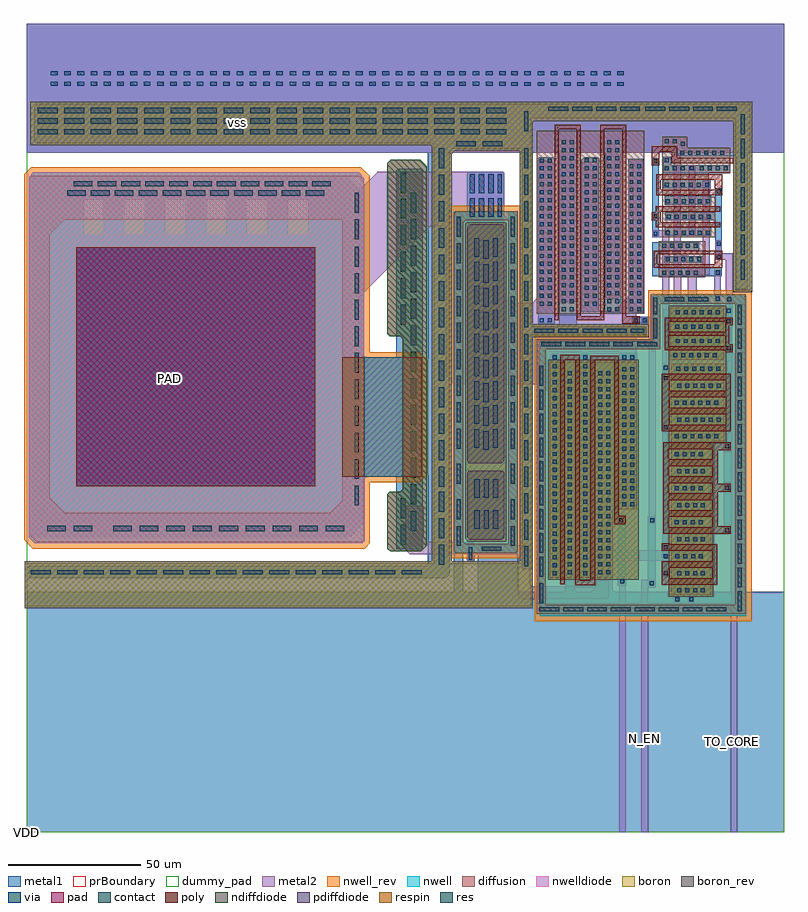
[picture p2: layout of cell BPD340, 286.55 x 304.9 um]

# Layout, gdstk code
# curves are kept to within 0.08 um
import gdstk
lib = gdstk.Library(unit=1e-6, precision=1e-09)
def R(c, l, rs):  # rectangles x0, y0, x1, y1
    for r in rs: c.add(gdstk.rectangle(r[:2], r[2:], *l))
def A(c, l, x, y, w, h, nx, ny, dx, dy):  # array of equal rectangles
    R(c, l, [(x+i*dx, y+j*dy, x+i*dx+w, y+j*dy+h) for i in range(nx) for j in range(ny)])
def P(c, l, *ps):  # polygons
    for p in ps: c.add(gdstk.Polygon(p, *l))
nwell = (1, 0)
diffusion = (2, 0)
nwell_rev = (3, 0)
poly = (4, 0)
boron = (5, 0)
boron_rev = (6, 0)
contact = (7, 0)
metal1 = (8, 0)
via = (9, 0)
metal2 = (10, 0)
pad = (11, 0)
prBoundary = (28, 0)
res = (35, 0)
respin = (36, 0)
pdiffdiode = (37, 0)
nwelldiode = (38, 0)
ndiffdiode = (39, 0)
dummy_pad = (40, 0)

bpd340 = lib.new_cell('BPD340')
P(bpd340, nwell, [(161.5,105.25),(161.15,105.6),(161.15,233.95),(161.45,234.25),(185,234.25),(185.15,234.1),(185.15,105.6),(184.8,105.25)],
  [(3.15,108.95),(1.05,111.05),(1.05,247.25),(2.6,248.8),(125.25,248.8),(127.4,246.65),(127.4,179.652),(128.002,179.05),(147.45,179.05),(149.1,177.4),(149.1,135.7),(147.45,134.05),(128.058,134.05),(127.45,133.442),(127.45,109.75),(126.65,108.95)],
  [(193.6,81.65),(193.6,185.25),(236.35,185.25),(236.35,202.35),(271.45,202.35),(271.45,81.65)])
R(bpd340, diffusion, [(242.8,178.1,262.8,197.8), (190,187.35,233.85,190.85), (192.45,195.45,232.85,264.45), (238.45,209.2,255.95,222.9)])
P(bpd340, diffusion, [(243.1,89.6),(243.1,176.6),(263.1,176.6),(263.1,147.5),(258.1,147.5),(258.1,89.6)],
  [(3.95,109.3),(1.05,112.2),(1.05,246.563),(2.037,247.55),(119,247.55),(119,231),(14.214,231),(8.7,225.486),(8.7,126.204),(14.404,120.5),(114.449,120.5),(119,125.051),(119,247.55),(125.563,247.55),(127.35,245.763),(127.35,109.952),(126.698,109.3)],
  [(137.101,105.95),(136.1,106.951),(136.1,127.549),(136.951,128.4),(140.987,128.4),(141.85,129.263),(141.85,185.999),(140.849,187),(136.906,187),(136,187.906),(136,252.285),(137.365,253.65),(148.4,253.65),(150.9,251.15),(150.9,108.002),(148.848,105.95)],
  [(162.101,105.25),(161.15,106.201),(161.15,233.344),(162.056,234.25),(181.65,234.25),(181.65,230.75),(165.536,230.75),(164.65,229.864),(164.65,109.515),(165.415,108.75),(181.395,108.75),(181.65,109.005),(181.65,234.25),(184.95,234.25),(185.15,234.05),(185.15,106.052),(184.348,105.25)],
  [(0,85.15),(0,101.45),(153.45,101.45),(153.45,259.248),(152.848,259.85),(3.814,259.85),(2.85,260.814),(2.85,273.45),(4.05,274.65),(186.75,274.65),(186.75,257.65),(160.704,257.65),(159.55,256.496),(159.552,101.45),(186.295,101.45),(186.75,101.905),(186.75,274.65),(188.9,274.65),(190.25,273.3),(190.25,85.15)],
  [(192.35,82.35),(192.35,182.2),(192.3,182.2),(192.3,185.85),(235.35,185.85),(235.35,202.8),(267.15,202.8),(267.15,199.3),(238.85,199.3),(238.85,182.2),(195.85,182.2),(195.85,85.85),(267.15,85.85),(267.15,202.8),(271.25,202.8),(271.25,82.35)],
  [(197.35,95.9),(197.35,177.4),(230.05,177.4),(230.05,121.9),(221.05,121.9),(221.05,95.9)],
  [(166.752,139.25),(166.15,139.852),(166.15,228.35),(167.05,229.25),(179.448,229.25),(180.15,228.548),(180.15,140.156),(179.244,139.25)],
  [(267.15,204.3),(267.15,269.25),(187.4,269.25),(187.4,274.65),(272.85,274.65),(272.85,204.3)],
  [(167.105,110.25),(166.15,111.205),(166.15,135.6),(166.8,136.25),(179.65,136.25),(180.15,135.75),(180.15,111.15),(179.25,110.25)],
  [(239.65,224.4),(239.65,262.35),(249.15,262.35),(249.15,258.05),(265.3,258.05),(265.3,248.6),(257.15,248.6),(257.15,239.7),(259.65,239.7),(259.65,224.4)])
P(bpd340, nwell_rev, [(160.672,103.25),(159.15,104.772),(159.15,234.778),(160.622,236.25),(185.828,236.25),(187.15,234.928),(187.15,104.772),(185.628,103.25)],
  [(2.322,106.95),(-0.95,110.222),(-0.95,248.078),(1.772,250.8),(126.078,250.8),(129.4,247.478),(129.4,181.05),(148.278,181.05),(151.1,178.228),(151.1,134.872),(148.278,132.05),(129.45,132.05),(129.45,108.922),(127.478,106.95)],
  [(191.6,79.65),(191.6,187.25),(234.35,187.25),(234.35,204.35),(273.45,204.35),(273.45,79.65)])
P(bpd340, poly, [(206.85,93.15),(206.85,178.1),(202.95,178.1),(202.95,93.5),(201.15,93.5),(201.15,180),(208.65,180),(208.65,95),(212.55,95),(212.55,179.6),(223.35,179.6),(223.35,119.35),(225.95,119.35),(225.95,116.25),(221.55,116.25),(221.55,178),(214.35,178),(214.35,93.15)],
  [(240,112.5),(240,147),(258.6,147),(258.6,144.5),(242.05,144.5),(242.05,140.6),(258.6,140.6),(258.6,138.1),(242.05,138.1),(242.05,134.2),(258.6,134.2),(258.6,131.7),(242.05,131.7),(242.05,127.8),(258.6,127.8),(258.6,125.3),(242.05,125.3),(242.05,121.4),(258.6,121.4),(258.6,118.9),(242.05,118.9),(242.05,115),(258.6,115),(258.6,147),(265.6,147),(265.6,144.1),(260.6,144.1),(260.6,131.35),(265.6,131.35),(265.6,128.45),(260.6,128.45),(260.6,115.4),(265.6,115.4),(265.6,112.5)],
  [(239.6,93.3),(239.6,102.2),(258.6,102.2),(258.6,99.7),(242.6,99.7),(242.6,95.8),(258.6,95.8),(258.6,106.1),(239.6,106.1),(239.6,109),(242.55,109),(242.55,108.6),(260.5,108.6),(260.5,93.3)],
  [(239.6,151.2),(239.6,172.9),(263.6,172.9),(263.6,170.4),(242.55,170.4),(242.55,166.5),(263.6,166.5),(263.6,164),(242.6,164),(242.6,160.1),(263.6,160.1),(263.6,157.6),(242.6,157.6),(242.6,153.7),(263.6,153.7),(263.6,172.9),(265.6,172.9),(265.6,151.2)],
  [(263.4,181.1),(263.4,181.8),(240.55,181.8),(240.55,194.1),(263.4,194.1),(263.4,192.6),(242.1,192.6),(242.1,188.7),(263.4,188.7),(263.4,187.2),(242.1,187.2),(242.1,183.3),(263.4,183.3),(263.4,194.1),(266.3,194.1),(266.3,191.2),(264.9,191.2),(264.9,184),(266.3,184),(266.3,181.1)],
  [(237.3,228.1),(237.3,230.85),(235.7,230.85),(235.7,233.75),(237.3,233.75),(237.3,236),(261.55,236),(261.55,234),(239.15,234),(239.15,230.1),(261.55,230.1),(261.55,228.1)],
  [(235.7,251.55),(235.7,258.65),(245.35,258.65),(245.35,254.3),(266.5,254.3),(266.5,252.3),(243.35,252.3),(243.35,256.65),(238.6,256.65),(238.6,251.55)],
  [(237.45,240.2),(237.45,248.1),(259.5,248.1),(259.5,246.1),(239.15,246.1),(239.15,242.2),(259.5,242.2),(259.5,248.1),(262.4,248.1),(262.4,240.2)],
  [(236.4,212.9),(236.4,219.2),(259.5,219.2),(259.5,218),(237.75,218),(237.75,214.1),(259.5,214.1),(259.5,219.2),(262.4,219.2),(262.4,212.9)],
  [(224.65,191.7),(224.65,265.15),(217.75,265.15),(217.75,193.05),(207.55,193.05),(207.55,265.15),(200.65,265.15),(200.65,193.05),(199.15,193.05),(199.15,266.75),(209.05,266.75),(209.05,194.65),(216.25,194.65),(216.25,266.75),(226.15,266.75),(226.15,194.6),(231.15,194.6),(231.15,191.7)])
R(bpd340, boron, [(196.65,95.2,230.8,178.15), (190.95,186.65,234.6,191.55)])
P(bpd340, boron, [(242.1,88.85),(242.1,198.5),(263.8,198.5),(263.8,146.75),(258.85,146.75),(258.85,88.85)],
  [(166.6,109.55),(165.45,110.7),(165.45,229.5),(165.9,229.95),(180.85,229.95),(180.85,109.55)],
  [(-0.7,84.45),(-0.7,102.15),(152.75,102.15),(152.75,258.6),(152.2,259.15),(1.4,259.15),(1.4,275.45),(186.05,275.45),(186.05,256.95),(161.451,256.95),(160.25,255.749),(160.25,102.15),(185.7,102.15),(186.05,102.5),(186.05,275.45),(190.95,275.45),(190.95,84.45)],
  [(266.4,203.6),(266.4,268.15),(190.95,268.15),(190.95,275.45),(273.6,275.45),(273.6,203.6)])
R(bpd340, boron_rev, [(196.65,95.2,230.8,178.15), (190.95,186.65,234.6,191.55)])
P(bpd340, boron_rev, [(242.1,88.85),(242.1,198.5),(263.8,198.5),(263.8,146.75),(258.85,146.75),(258.85,88.85)],
  [(166.6,109.55),(165.45,110.7),(165.45,229.5),(165.9,229.95),(180.85,229.95),(180.85,109.55)],
  [(-0.7,84.45),(-0.7,102.15),(152.75,102.15),(152.75,258.6),(152.2,259.15),(1.4,259.15),(1.4,275.45),(186.05,275.45),(186.05,256.95),(161.451,256.95),(160.25,255.749),(160.25,102.15),(185.7,102.15),(186.05,102.5),(186.05,275.45),(190.95,275.45),(190.95,84.45)],
  [(266.4,203.6),(266.4,268.15),(190.95,268.15),(190.95,275.45),(273.6,275.45),(273.6,203.6)])
A(bpd340, contact, 193.35, 83.35, 7.5, 1.5, 8, 1, 9, 0)
A(bpd340, contact, 268.15, 83.35, 1.5, 7.5, 1, 5, 0, 9)
A(bpd340, contact, 245.3, 90.6, 1.5, 1.5, 4, 2, 3, 6.4)
A(bpd340, contact, 193.35, 96.35, 1.5, 7.5, 1, 9, 0, 9)
A(bpd340, contact, 1.55, 97.3, 7.5, 1.5, 15, 1, 10, 0)
A(bpd340, contact, 204.15, 97.4, 1.5, 1.5, 1, 26, 0, 3)
A(bpd340, contact, 215.55, 97.4, 1.5, 1.5, 1, 26, 0, 3)
A(bpd340, contact, 218.55, 97.4, 1.5, 1.5, 1, 26, 0, 3)
A(bpd340, contact, 187.75, 100.35, 1.5, 7.5, 1, 16, 0, 10)
A(bpd340, contact, 155.45, 100.85, 2, 7.5, 1, 3, 0, 10)
A(bpd340, contact, 247.55, 103.4, 1.5, 1.5, 3, 1, 3, 0)
A(bpd340, contact, 198.35, 105.9, 1.5, 1.5, 1, 3, 0, 6)
A(bpd340, contact, 209.85, 108.9, 1.5, 1.5, 1, 3, 0, 6)
A(bpd340, contact, 245.3, 109.8, 1.5, 1.5, 4, 3, 3, 12.8)
A(bpd340, contact, 32.75, 113.55, 7, 2, 9, 1, 10, 0)
A(bpd340, contact, 168.85, 114.4, 2, 7, 3, 2, 3.5, 11.75)
A(bpd340, contact, 247.5, 116.2, 1.5, 1.5, 3, 3, 3, 12.8)
A(bpd340, contact, 224.55, 122.9, 1.5, 1.5, 1, 18, 0, 3)
A(bpd340, contact, 123.85, 123.25, 1.5, 7.5, 1, 10, 0, 10)
A(bpd340, contact, 144.85, 123.65, 2, 7.5, 1, 12, 0, 10)
A(bpd340, contact, 155.45, 130.35, 2, 7.5, 1, 13, 0, 10)
A(bpd340, contact, 227.55, 131.9, 1.5, 1.5, 1, 3, 0, 6)
A(bpd340, contact, 268.15, 137.35, 1.5, 7.5, 1, 7, 0, 9)
A(bpd340, contact, 172.25, 144.25, 2, 7, 1, 9, 0, 9)
A(bpd340, contact, 162.15, 144.65, 1.5, 7.5, 1, 9, 0, 10)
A(bpd340, contact, 182.65, 144.65, 1.5, 7.5, 1, 9, 0, 10)
A(bpd340, contact, 168.75, 145.05, 2, 7, 1, 9, 0, 9)
A(bpd340, contact, 175.75, 145.05, 2, 7, 1, 9, 0, 9)
A(bpd340, contact, 244.35, 148.5, 1.5, 1.5, 4, 2, 3, 12.8)
A(bpd340, contact, 245.3, 154.9, 1.5, 1.5, 6, 2, 3, 12.8)
A(bpd340, contact, 245, 174.1, 1.5, 1.5, 4, 1, 3, 0)
A(bpd340, contact, 252.8, 179.1, 1.5, 1.5, 3, 1, 3, 0)
A(bpd340, contact, 194.15, 183.35, 7.5, 1.5, 4, 1, 9, 0)
A(bpd340, contact, 244.8, 184.5, 1.5, 1.5, 6, 2, 3, 10.8)
A(bpd340, contact, 253.55, 189.9, 1.5, 1.5, 3, 1, 3, 0)
A(bpd340, contact, 141.05, 191.45, 2, 7.5, 1, 5, 0, 10)
A(bpd340, contact, 201.85, 196.45, 1.5, 1.5, 1, 5, 0, 3)
A(bpd340, contact, 204.85, 196.45, 1.5, 1.5, 1, 3, 0, 3)
A(bpd340, contact, 218.95, 196.45, 1.5, 1.5, 1, 3, 0, 3)
A(bpd340, contact, 221.95, 196.45, 1.5, 1.5, 1, 4, 0, 3)
A(bpd340, contact, 227.35, 196.45, 1.5, 1.5, 1, 19, 0, 3)
A(bpd340, contact, 193.45, 198.55, 1.5, 1.5, 1, 7, 0, 9)
A(bpd340, contact, 196.45, 198.55, 1.5, 1.5, 1, 19, 0, 3)
A(bpd340, contact, 213.55, 201.6, 1.5, 1.5, 1, 4, 0, 3)
A(bpd340, contact, 210.55, 207.6, 1.5, 1.5, 1, 5, 0, 3)
A(bpd340, contact, 204.85, 208.45, 1.5, 1.5, 1, 3, 0, 3)
A(bpd340, contact, 218.95, 208.45, 1.5, 1.5, 1, 3, 0, 3)
A(bpd340, contact, 239.65, 210.2, 1.5, 1.5, 5, 2, 3, 10.2)
A(bpd340, contact, 221.95, 211.45, 1.5, 1.5, 1, 6, 0, 3)
A(bpd340, contact, 201.85, 214.45, 1.5, 1.5, 1, 3, 0, 3)
A(bpd340, contact, 213.55, 216.6, 1.5, 1.5, 1, 5, 0, 3)
A(bpd340, contact, 269.25, 217.8, 1.5, 7.5, 1, 3, 0, 9)
A(bpd340, contact, 204.85, 220.45, 1.5, 1.5, 1, 3, 0, 3)
A(bpd340, contact, 241.1, 225.4, 1.5, 1.5, 3, 2, 3, 11.8)
A(bpd340, contact, 210.55, 225.6, 1.5, 1.5, 1, 5, 0, 3)
A(bpd340, contact, 201.85, 226.45, 1.5, 1.5, 1, 3, 0, 3)
A(bpd340, contact, 218.95, 226.45, 1.5, 1.5, 1, 5, 0, 3)
A(bpd340, contact, 230.35, 226.45, 1.5, 1.5, 1, 3, 0, 9)
A(bpd340, contact, 241.4, 231.3, 1.5, 1.5, 6, 1, 3, 0)
A(bpd340, contact, 204.85, 232.45, 1.5, 1.5, 1, 3, 0, 3)
A(bpd340, contact, 213.55, 234.6, 1.5, 1.5, 1, 5, 0, 3)
A(bpd340, contact, 201.85, 238.45, 1.5, 1.5, 1, 3, 0, 3)
A(bpd340, contact, 221.95, 238.45, 1.5, 1.5, 1, 3, 0, 3)
A(bpd340, contact, 15.3, 240.05, 7, 2, 11, 1, 9, 0)
A(bpd340, contact, 240.65, 243.4, 1.5, 1.5, 5, 1, 3, 0)
A(bpd340, contact, 17.8, 243.55, 7, 2, 10, 1, 9, 0)
A(bpd340, contact, 210.55, 243.6, 1.5, 1.5, 1, 4, 0, 3)
A(bpd340, contact, 204.85, 244.45, 1.5, 1.5, 1, 3, 0, 3)
A(bpd340, contact, 218.95, 244.45, 1.5, 1.5, 1, 3, 0, 3)
A(bpd340, contact, 240.65, 249.6, 1.5, 1.5, 3, 1, 3, 0)
A(bpd340, contact, 253.8, 249.6, 1.5, 1.5, 4, 1, 3, 0)
A(bpd340, contact, 201.85, 250.45, 1.5, 1.5, 1, 4, 0, 3)
A(bpd340, contact, 221.95, 250.45, 1.5, 1.5, 1, 3, 0, 3)
A(bpd340, contact, 246.55, 255.55, 1.5, 1.5, 6, 1, 3, 0)
A(bpd340, contact, 4.3, 263.15, 7.5, 2, 14, 3, 10, 4)
A(bpd340, contact, 143.8, 263.15, 7.5, 2, 1, 3, 0, 4)
A(bpd340, contact, 173.3, 263.15, 7.5, 2, 1, 3, 0, 4)
A(bpd340, contact, 196.8, 272.15, 7.5, 1.5, 4, 1, 9, 0)
A(bpd340, contact, 233.3, 272.15, 7.5, 1.5, 4, 1, 9, 0)
R(bpd340, contact, [(193.35,86.35,194.85,93.85), (198.35,96.9,199.85,98.4), (209.85,96.9,211.35,98.4), (240.3,96.9,241.8,98.4), (209.85,99.9,211.35,101.4), (198.35,102.9,199.85,104.4), (209.85,105.9,211.35,107.4), (171.55,106.25,179.05,107.75), (240.3,106.8,241.8,108.3), (162.15,108,163.65,115.5), (182.65,108,184.15,115.5), (141.05,108.4,143.05,115.9), (263.4,113.2,264.9,114.7), (7.85,113.55,14.85,115.55), (17.85,113.55,24.85,115.55), (223.4,116.95,224.9,118.45), (162.15,118,163.65,125.5), (182.65,118,184.15,125.5), (141.05,118.45,143.05,125.95), (198.35,120.9,199.85,122.4), (209.85,123.9,211.35,125.4), (198.35,126.9,199.85,128.4), (268.15,128.4,269.65,135.85), (263.4,129.15,264.9,130.65), (198.35,129.9,199.85,131.4), (209.85,129.9,211.35,131.4), (162.15,131.4,163.65,138.9), (182.65,131.4,184.15,138.9), (209.85,132.9,211.35,134.4), (198.35,135.9,199.85,137.4), (198.35,138.9,199.85,140.4), (209.85,138.9,211.35,140.4), (209.85,141.9,211.35,143.4), (263.4,144.8,264.9,146.3), (198.35,144.9,199.85,146.4), (198.35,147.9,199.85,149.4), (209.85,147.9,211.35,149.4), (259.35,148.5,260.85,150), (209.85,150.9,211.35,152.4), (240.3,151.9,241.8,153.4), (227.55,152.9,229.05,154.4), (198.35,153.9,199.85,155.4), (198.35,156.9,199.85,158.4), (209.85,156.9,211.35,158.4), (227.55,158.9,229.05,160.4), (209.85,159.9,211.35,161.4), (259.35,161.3,260.85,162.8), (198.35,162.9,199.85,164.4), (198.35,165.9,199.85,167.4), (209.85,165.9,211.35,167.4), (209.85,168.9,211.35,170.4), (240.3,170.55,241.8,172.05), (227.55,170.9,229.05,172.4), (198.35,171.9,199.85,173.4), (260,174.1,261.5,175.6), (198.35,174.9,199.85,176.4), (209.85,174.9,211.35,176.4), (243.8,179.1,245.3,180.6), (246.8,179.1,248.3,180.6), (264.1,181.8,265.6,183.3), (230.25,183.35,237.75,184.85), (236.35,186.35,237.85,193.85), (191.5,188.35,199,189.85), (200.5,188.35,208,189.85), (209.8,188.35,217.3,189.85), (218.8,188.35,226.3,189.85), (227.8,188.35,232.85,189.85), (244.55,189.9,246.05,191.4), (247.55,189.9,249.05,191.4), (264.1,191.9,265.6,193.4), (228.95,192.4,230.45,193.9), (236.35,195.35,237.85,201.65), (230.35,196.45,231.85,197.95), (210.55,198.6,212.05,200.1), (240.55,200.3,248.05,201.8), (249.55,200.3,257.05,201.8), (264.25,200.3,265.75,201.8), (210.55,201.6,212.05,203.1), (230.35,205.45,231.85,206.95), (269.25,208.3,270.75,215.8), (230.35,211.45,231.85,212.95), (240.95,215.3,242.45,216.8), (243.95,215.3,245.45,216.8), (249.95,215.3,251.45,216.8), (252.95,215.3,254.45,216.8), (260.2,216.3,261.7,217.8), (218.95,220.45,220.45,221.95), (230.35,220.45,231.85,221.95), (123.85,223.6,125.35,231.1), (253.1,225.4,254.6,226.9), (256.1,225.4,257.6,226.9), (236.4,231.55,237.9,233.05), (221.95,232.45,223.45,233.95), (123.85,233.6,125.35,241.1), (253.1,237.2,254.6,238.7), (256.1,237.2,257.6,238.7), (260.2,240.9,261.7,242.4), (141.05,241.15,143.05,248.65), (107.8,243.55,114.7,245.55), (269.25,244.85,270.75,252.35), (236.4,252.25,237.9,253.75), (213.55,252.6,215.05,254.1), (240.65,252.65,242.15,254.15), (269.25,254.1,270.75,261.6), (204.85,256.45,206.35,257.95), (218.95,256.45,220.45,257.95), (161.95,258.65,169.45,260.65), (171.95,258.65,179.45,260.65), (246.65,258.85,248.15,260.35), (204.85,259.45,206.35,260.95), (218.95,259.45,220.45,260.95), (240.65,259.85,242.15,261.35), (243.65,259.85,245.15,261.35), (153.65,263.15,161.3,265.15), (163.8,263.15,170.8,265.15), (269.25,263.15,270.75,270.7), (187.75,264.35,189.25,271.85), (153.65,267.15,161.3,269.15), (163.8,267.15,170.8,269.15), (153.8,271.15,161.3,273.15), (163.3,271.15,170.8,273.15)])
R(bpd340, metal1, [(0,0,285.6,90.7), (242.8,90.1,258.4,93.45), (234.3,92.3,237.25,119.15), (222.9,92.8,226.1,118.95), (239.65,96.4,242.3,176.45), (244.05,102.9,255.55,105.8), (244,115.25,255.5,118.2), (223.45,121.8,230.3,180.8), (244,127.95,255.5,131), (244,140.65,255.5,143.8), (243.85,160.3,261.4,163.3), (244.5,172.95,262,176.1), (243.3,178.15,260.8,181.1), (244.05,189,261.55,191.9), (228.4,191.9,234.35,194.4), (226.85,195.95,232.55,254), (240.45,214.8,255.1,217.3), (235.9,224.4,238.4,254.25), (240.6,224.9,258.1,228.05), (240.6,236.7,258.1,240.05), (240.15,242.9,258.05,246.15), (0,256.2,285.6,304.9)])
P(bpd340, metal1, [(0.75,95.85),(0.75,100.5),(151.35,100.5),(151.35,256.2),(0,256.2),(0,304.9),(231,304.9),(231,256.2),(190.95,256.2),(190.95,99.3),(190.85,99.2),(186.85,99.2),(186.75,99.3),(186.75,255.344),(185.894,256.2),(160.252,256.2),(159.55,255.498),(159.55,97.066),(158.334,95.85)],
  [(188.2,187.75),(188.2,190.35),(200.9,190.35),(200.9,256.2),(0,256.2),(0,304.9),(285.6,304.9),(285.6,256.2),(271.9,256.2),(271.9,204.7),(267.65,204.7),(267.65,255),(245.65,255),(245.65,256.2),(224.2,256.2),(224.2,195.95),(218.4,195.95),(217.95,196.4),(217.95,256.2),(207.45,256.2),(207.45,190.35),(233.55,190.35),(233.55,187.75)],
  [(197.95,96.4),(197.35,97),(197.35,179.848),(198.152,180.65),(200.398,180.65),(201.05,179.998),(201.05,97.302),(200.148,96.4)],
  [(0,0),(0,90.7),(160.689,90.7),(161.15,91.161),(161.15,233.85),(161.55,234.25),(164.197,234.25),(164.65,233.797),(164.65,91.05),(165,90.7),(169.7,90.7),(170.15,91.15),(170.15,108.248),(170.652,108.75),(181.395,108.75),(181.65,109.005),(181.65,233.847),(182.053,234.25),(184.8,234.25),(185.15,233.9),(185.15,91.202),(185.652,90.7),(231,90.7),(231,0)],
  [(2.45,110.8),(1.75,111.5),(1.75,245.949),(3.351,247.55),(29.2,247.55),(29.2,238.55),(21.5,238.55),(21.5,225.55),(29.2,225.55),(29.2,247.55),(44.6,247.55),(44.6,238.55),(36.9,238.55),(36.9,225.55),(44.6,225.55),(44.6,247.55),(60,247.55),(60,238.55),(52.3,238.55),(52.3,225.55),(60,225.55),(60,247.55),(75.4,247.55),(75.4,238.55),(67.7,238.55),(67.7,225.55),(75.4,225.55),(75.4,247.55),(90.8,247.55),(90.8,238.55),(83.1,238.55),(83.1,225.55),(90.8,225.55),(90.8,247.55),(106.2,247.55),(106.2,238.55),(98.5,238.55),(98.5,225.55),(106.2,225.55),(106.2,247.55),(121.25,247.55),(127.4,241.4),(127.4,214),(127.3,214),(127.35,116.437),(121.713,110.8)],
  [(139.35,106.65),(139.35,249.685),(139.915,250.25),(148.548,250.25),(149.35,249.448),(149.35,106.65)],
  [(262.9,112.7),(262.9,153.7),(244.6,153.7),(244.6,156.9),(262.95,156.9),(262.95,166.5),(244.6,166.5),(244.6,169.7),(263.6,169.7),(263.6,197.95),(266.1,197.95),(266.1,112.7)],
  [(244.8,96.5),(244.8,99.6),(257.05,99.6),(257.05,109.3),(244.8,109.3),(244.8,112.75),(257.05,112.75),(257.05,121.65),(244.8,121.65),(244.8,124.6),(257.05,124.6),(257.05,134.2),(244.8,134.2),(244.8,137.4),(257.05,137.4),(257.05,147.35),(243.85,147.35),(243.85,150.5),(261.35,150.5),(261.35,147.55),(259.55,147.55),(259.55,96.5)],
  [(208.95,96.4),(208.95,180.149),(209.651,180.85),(211.35,180.85),(212.55,179.65),(212.55,96.95),(212,96.4)],
  [(0,0),(0,90.7),(192.85,90.7),(192.85,185.4),(235.85,185.4),(235.85,202.3),(257.55,202.3),(257.55,199.8),(238.35,199.8),(238.35,182.75),(195.35,182.75),(195.35,91.701),(196.351,90.7),(202.7,90.7),(203.1,91.1),(203.1,174.644),(203.906,175.45),(205.596,175.45),(206.65,174.396),(206.65,91.555),(207.505,90.7),(212.992,90.7),(214.3,92.008),(214.3,175.849),(215.451,177),(219.55,177),(220.95,175.6),(220.95,91.701),(221.951,90.7),(267.65,90.7),(267.65,199.8),(263.75,199.8),(263.75,202.3),(270.75,202.3),(270.75,90.7),(285.6,90.7),(285.6,0)],
  [(166.75,139.25),(166.15,139.85),(166.15,248.498),(166.802,249.15),(179.747,249.15),(180.115,248.782),(180.15,248.697),(180.15,140.156),(179.244,139.25)],
  [(166.15,102.35),(166.15,135.394),(166.157,135.412),(166.237,135.531),(166.956,136.25),(179.348,136.25),(180.15,135.448),(180.15,111.27),(179.13,110.25),(169.601,110.25),(168.65,109.299),(168.65,102.35)],
  [(239.9,183.3),(239.9,197.3),(259.3,197.3),(259.3,202.5),(261.8,202.5),(261.8,194.35),(242.5,194.35),(242.5,186.5),(261.8,186.5),(261.8,183.3)],
  [(192.95,191.85),(192.85,191.95),(192.85,254.2),(193.25,254.6),(198.398,254.6),(199.1,253.898),(199.1,191.85)],
  [(209.15,196.25),(209.15,253.55),(210.2,254.6),(215.3,254.6),(215.85,254.05),(215.85,196.25)],
  [(240.15,248.55),(240.15,254.65),(243.05,254.65),(243.05,251.6),(265.3,251.6),(265.3,248.55)],
  [(259.6,215.8),(259.6,230.8),(240.9,230.8),(240.9,233.75),(259.6,233.75),(259.6,242.9),(262.2,242.9),(262.2,215.8)],
  [(235.9,209.7),(235.9,222.4),(253.65,222.4),(253.65,219.35),(238.9,219.35),(238.9,212.85),(262.1,212.85),(262.1,209.7)])
A(bpd340, via, 198.35, 114.9, 1.5, 1.5, 1, 7, 0, 9)
A(bpd340, via, 244.5, 116.2, 1.5, 1.5, 1, 3, 0, 12.8)
A(bpd340, via, 209.85, 117.9, 1.5, 1.5, 1, 7, 0, 9)
A(bpd340, via, 227.55, 122.9, 1.5, 1.5, 1, 3, 0, 3)
A(bpd340, via, 227.55, 134.9, 1.5, 1.5, 1, 3, 0, 6)
A(bpd340, via, 227.55, 149.9, 1.5, 1.5, 1, 3, 0, 6)
A(bpd340, via, 230.35, 202.45, 1.5, 1.5, 1, 3, 0, 6)
A(bpd340, via, 210.55, 204.6, 1.5, 1.5, 1, 3, 0, 18)
A(bpd340, via, 204.85, 205.45, 1.5, 1.5, 1, 5, 0, 12)
A(bpd340, via, 201.85, 211.45, 1.5, 1.5, 1, 4, 0, 12)
A(bpd340, via, 213.55, 213.6, 1.5, 1.5, 1, 3, 0, 18)
A(bpd340, via, 230.35, 217.45, 1.5, 1.5, 1, 3, 0, 6)
A(bpd340, via, 221.95, 235.45, 1.5, 1.5, 1, 3, 0, 12)
A(bpd340, via, 182.7, 281.4, 2.5, 1.5, 9, 2, 5, 4)
A(bpd340, via, 9.2, 281.45, 2.5, 1.5, 27, 2, 5, 4)
A(bpd340, via, 143.7, 281.45, 2.5, 1.5, 4, 2, 5, 4)
A(bpd340, via, 163.2, 281.45, 2.5, 1.5, 4, 2, 5, 4)
R(bpd340, via, [(244.55,87.15,246.05,88.65), (249.8,87.15,251.3,88.65), (234.9,93.1,236.4,94.6), (223.8,93.85,225.3,95.35), (198.35,99.9,199.85,101.4), (166.65,102.85,168.15,107.5), (209.85,102.9,211.35,104.4), (240.3,103.4,241.8,104.9), (244.55,103.4,246.05,104.9), (198.35,108.9,199.85,110.4), (209.85,111.9,211.35,113.4), (144.85,113.65,146.85,121.15), (235.2,116.95,236.7,118.45), (18.8,130.55,108.8,220.55), (256.35,148.5,257.85,150), (256.35,161.3,257.85,162.8), (227.55,164.9,229.05,166.4), (227.55,167.9,229.05,169.4), (227.55,173.9,229.05,175.4), (257,174.1,258.5,175.6), (240.25,174.45,241.75,175.95), (224.55,178.3,226.05,179.8), (227.55,178.3,229.05,179.8), (198.35,178.4,199.85,179.9), (209.85,178.4,211.35,179.9), (249.8,179.1,251.3,180.6), (250.55,189.9,252.05,191.4), (193.45,192.35,194.95,193.85), (196.45,192.35,197.95,193.85), (232.35,192.4,233.85,193.9), (264.1,195.85,265.6,197.35), (213.55,198.6,215.05,200.1), (230.35,199.45,231.85,200.95), (259.8,200.5,261.3,202), (193.45,201.55,194.95,203.05), (193.45,204.55,194.95,206.05), (218.95,205.45,220.45,206.95), (221.95,208.45,223.45,209.95), (259.8,210.2,261.3,211.7), (193.45,210.55,194.95,212.05), (193.45,213.55,194.95,215.05), (246.95,215.3,248.45,216.8), (218.95,217.45,220.45,218.95), (193.45,219.55,194.95,221.05), (260.2,221.2,261.7,222.7), (193.45,222.55,194.95,224.05), (218.95,223.45,220.45,224.95), (236.4,224.9,237.9,226.4), (250.1,225.4,251.6,226.9), (193.45,228.55,194.95,230.05), (221.95,229.45,223.45,230.95), (193.45,231.55,194.95,233.05), (167.05,232.05,169.05,239.05), (170.6,232.05,172.6,239.05), (174.1,232.05,176.1,239.05), (177.6,232.05,179.1,239.05), (230.35,232.45,231.85,233.95), (250.1,237.2,251.6,238.7), (193.45,237.55,194.95,239.05), (230.35,238.45,231.85,239.95), (193.45,240.55,194.95,242.05), (167.05,241.05,169.05,248.05), (170.6,241.05,172.6,248.05), (174.1,241.05,176.1,248.05), (177.6,241.05,179.1,248.05), (218.95,241.45,220.45,242.95), (230.35,241.45,231.85,242.95), (255.9,243.4,257.4,244.9), (193.45,246.55,194.95,248.05), (230.35,247.45,231.85,248.95), (193.45,249.55,194.95,251.05), (250.1,249.6,251.6,251.1), (230.35,250.45,231.85,251.95), (218.95,253.45,220.45,254.95)])
R(bpd340, metal2, [(244.05,86.65,246.55,105.4), (255.85,148,259.15,176.1), (249.6,224.9,252.1,251.6), (0,256.2,285.6,304.9)])
P(bpd340, metal2, [(263.6,195.35),(263.6,215.8),(259.7,215.8),(259.7,223.2),(262.2,223.2),(262.2,218.3),(266.3,218.3),(266.3,195.35)],
  [(223.45,0),(223.45,92.8),(222.9,92.8),(222.9,96.2),(225.95,96.2),(225.95,0)],
  [(14.751,125.55),(13.8,126.501),(13.8,224.7),(14.65,225.55),(108.749,225.55),(132.15,248.951),(132.15,249.15),(179.547,249.15),(180.2,248.497),(180.2,229.8),(179,228.6),(152.298,228.6),(113.8,190.118),(113.8,126.352),(112.998,125.55)],
  [(265.45,0),(265.45,177.9),(259.3,177.9),(259.3,212.2),(261.8,212.2),(261.8,180.6),(267.95,180.6),(267.95,0)],
  [(231.85,0),(231.85,95.15),(237.25,95.15),(237.25,92.3),(234.35,92.3),(234.35,0)],
  [(244,115.25),(244,256.2),(224.2,256.2),(224.2,202.57),(222.78,201.15),(219.054,201.15),(218.4,201.804),(218.4,256.2),(207.45,256.2),(207.45,200.361),(207.189,200.1),(201.85,200.1),(200.9,201.05),(200.9,256.2),(0,256.2),(0,304.9),(285.6,304.9),(285.6,256.2),(246.7,256.2),(246.7,217.5),(248.95,217.5),(248.95,214.8),(246.9,214.8),(246.9,115.25)],
  [(196.6,95.85),(196.6,166.171),(193.821,168.95),(161.401,168.95),(158.05,172.301),(158.05,227.85),(157.3,228.6),(156.95,228.6),(156.95,232.65),(180.2,232.65),(180.2,202.102),(182.602,199.7),(190.788,199.7),(192.4,201.312),(192.4,252.898),(192.802,253.3),(197.3,253.3),(199.1,251.5),(199.1,196.101),(200.001,195.2),(207.742,195.2),(209.15,196.608),(209.15,251.949),(210.101,252.9),(214.998,252.9),(215.75,252.148),(215.75,196.95),(216.2,196.5),(221.35,196.5),(226.85,202.011),(226.85,252.597),(227.853,253.6),(231.6,253.6),(232.95,252.25),(232.95,198.739),(229.95,195.739),(229.95,122.592),(229.158,121.8),(224.907,121.8),(223.35,123.357),(223.35,169.249),(221.699,170.9),(214.151,170.9),(213.1,169.849),(213.1,96.813),(212.737,96.45),(208.769,96.45),(208.15,97.069),(208.15,169.397),(206.747,170.8),(202.803,170.8),(202.15,170.147),(202.15,95.85)],
  [(249.3,86.65),(249.3,212.85),(255.05,212.85),(255.05,245.65),(258.05,245.65),(258.05,242.6),(257.55,242.6),(257.55,210.3),(252.75,210.3),(252.75,188.5),(251.8,188.5),(251.8,86.65)],
  [(239.65,173.95),(239.65,224.4),(235.9,224.4),(235.9,226.95),(242.3,226.95),(242.3,173.95)],
  [(186.356,87.9),(185.45,88.806),(185.45,104.35),(185.05,104.75),(169.05,104.75),(168.95,104.65),(168.95,102.45),(168.85,102.35),(166.15,102.35),(165.95,102.55),(165.95,104.6),(165.7,104.85),(144.453,104.85),(142.8,106.503),(142.8,122.548),(143.302,123.05),(149.298,123.05),(149.8,122.548),(149.8,111.101),(151.351,109.55),(168.05,109.55),(169.202,108.3),(189.65,108.3),(189.65,93.55),(190.4,92.8),(214.448,92.8),(215.25,93.602),(215.25,105.5),(216.2,106.45),(242.35,106.45),(242.35,102.35),(220.5,102.35),(219.55,101.4),(219.55,88.706),(218.744,87.9)],
  [(234.65,116.4),(234.65,191.8),(231.75,191.8),(231.75,194.4),(237.25,194.4),(237.25,116.4)])
R(bpd340, pad, [(18.8,130.55,108.8,220.55)])
R(bpd340, prBoundary, [(0,0,285.6,304.9)])
R(bpd340, res, [(127.35,134.05,141.85,179.05)])
R(bpd340, respin, [(119,134.05,127.35,179.05), (141.85,134.05,149.1,179.05)])
P(bpd340, pdiffdiode, [(166.752,139.25),(166.15,139.852),(166.15,228.35),(167.05,229.25),(179.448,229.25),(180.15,228.548),(180.15,140.156),(179.244,139.25)],
  [(167.105,110.25),(166.15,111.205),(166.15,135.6),(166.8,136.25),(179.65,136.25),(180.15,135.75),(180.15,111.15),(179.25,110.25)])
P(bpd340, nwelldiode, [(3.15,108.95),(1.05,111.05),(1.05,247.25),(2.6,248.8),(125.25,248.8),(127.4,246.65),(127.4,179.652),(128.002,179.05),(147.45,179.05),(149.1,177.4),(149.1,135.7),(147.45,134.05),(128.058,134.05),(127.45,133.442),(127.45,109.75),(126.65,108.95)])
P(bpd340, ndiffdiode, [(137.101,105.95),(136.1,106.951),(136.1,127.549),(136.951,128.4),(140.987,128.4),(141.85,129.263),(141.85,185.999),(140.849,187),(136.906,187),(136,187.906),(136,252.285),(137.365,253.65),(148.4,253.65),(150.9,251.15),(150.9,108.002),(148.848,105.95)])
R(bpd340, dummy_pad, [(0,0,285.6,304.9)])
bpd340.add(gdstk.Label('vss', (79.6,267.65), layer=10, texttype=7))
bpd340.add(gdstk.Label('N_EN', (233.1,35.25), layer=10, texttype=7))
bpd340.add(gdstk.Label('TO_CORE', (266.2,34.35), layer=10, texttype=7))
bpd340.add(gdstk.Label('P_EN', (224.05,32.1), layer=10, texttype=7))
bpd340.add(gdstk.Label('PAD', (53.9,171.2), layer=10, texttype=7))
bpd340.add(gdstk.Label('VDD', (0.001,0.001), layer=8, texttype=7))

lib.write_gds('BPD340.gds')
